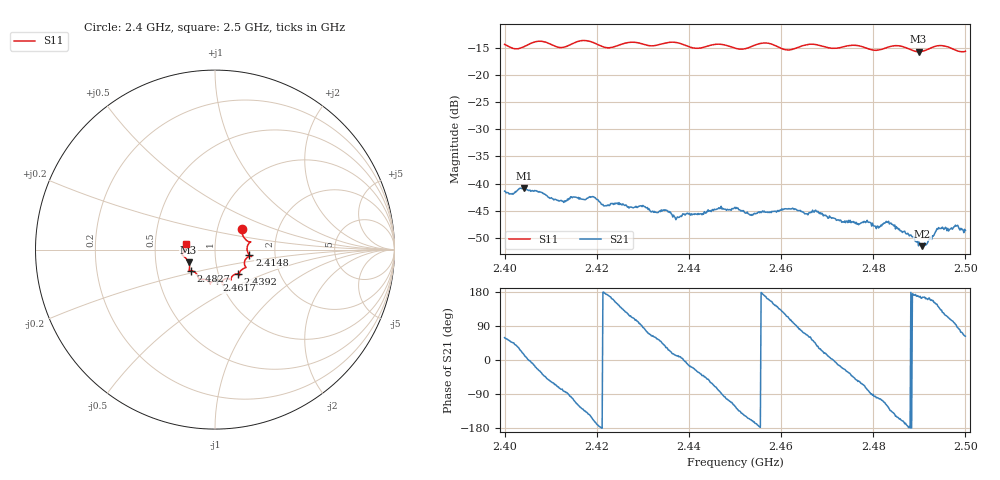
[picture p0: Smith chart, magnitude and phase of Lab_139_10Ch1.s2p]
# Hz S RI R 50
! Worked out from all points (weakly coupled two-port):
!   601 points, 2.4 GHz to 2.5 GHz, reference 50 ohm
!   highest |S21| = -40.78 dB at 2.4042 GHz (marker M1); lowest = -51.5 dB at 2.4907 GHz (marker M2)
!   lowest |S11| = -15.7 dB at 2.4898 GHz (marker M3), VSWR 1.39, Z = 36.9 - j5.4 ohm
!   |S11| at or under -10 dB: start of sweep to end of sweep
!   S12 and S22 are empty: the file has one direction only
!   S11 on the Smith chart (normalised r, x): 2.4 GHz: 1.31, +0.32; 2.4148 GHz: 1.47, -0.09; 2.4392 GHz: 1.24, -0.35; 2.4617 GHz: 0.96, -0.33; 2.4827 GHz: 0.75, -0.18; 2.5 GHz: 0.72, +0.05
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2.4e9  0.1517 0.1157  0.0044 0.00732  0 0  0 0
2.404167e9  0.1735 0.053  0.00884 0.00234  0 0  0 0
2.407667e9  0.1996 0.0431  0.0073 -0.00411  0 0  0 0
2.412333e9  0.1784 0.00219  0.00153 -0.00685  0 0  0 0
2.414833e9  0.1921 -0.031  -0.0016 -0.00735  0 0  0 0
2.416667e9  0.2029 -0.0391  -0.00435 -0.00577  0 0  0 0
2.419167e9  0.1958 -0.0363  -0.00702 -0.00294  0 0  0 0
2.422333e9  0.1673 -0.06  -0.00629 0.000908  0 0  0 0
2.433333e9  0.1371 -0.1302  0.00319 0.0044  0 0  0 0
2.439167e9  0.1282 -0.1365  0.00512 -0.000377  0 0  0 0
2.45e9  0.071 -0.1614  -0.00324 -0.00514  0 0  0 0
2.4535e9  0.0406 -0.1774  -0.00482 -0.00197  0 0  0 0
2.456833e9  0.0441 -0.1912  -0.00525 0.00153  0 0  0 0
2.461667e9  0.00876 -0.1693  -0.00204 0.00555  0 0  0 0
2.466667e9  -0.0262 -0.1898  0.00324 0.00436  0 0  0 0
2.480833e9  -0.1127 -0.1254  -0.000637 -0.00402  0 0  0 0
2.482667e9  -0.132 -0.1175  -0.00192 -0.00396  0 0  0 0
2.483333e9  -0.1377 -0.1168  -0.00264 -0.00365  0 0  0 0
2.489833e9  -0.1469 -0.0713  -0.00262 0.000588  0 0  0 0
2.490667e9  -0.1538 -0.0591  -0.00258 0.000658  0 0  0 0
2.494333e9  -0.1837 -0.0292  -0.00286 0.00263  0 0  0 0
2.5e9  -0.1618 0.031  0.0017 0.0033  0 0  0 0
